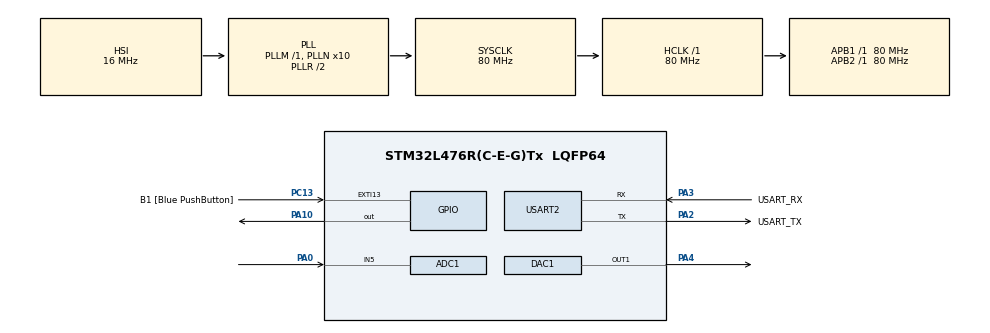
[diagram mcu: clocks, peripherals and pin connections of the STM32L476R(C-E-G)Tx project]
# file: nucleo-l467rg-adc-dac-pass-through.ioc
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ADC1.Channel-2\#ChannelRegularConversion=ADC_CHANNEL_5
ADC1.EnableInjectedConversion=DISABLE
ADC1.EnableRegularConversion=ENABLE
ADC1.NbrOfConversionFlag=1
ADC1.OffsetNumber-2\#ChannelRegularConversion=ADC_OFFSET_NONE
ADC1.Rank-2\#ChannelRegularConversion=1
ADC1.SamplingTime-2\#ChannelRegularConversion=ADC_SAMPLETIME_2CYCLES_5
ADC1.master=1
DAC1.DAC_OutputBuffer-DAC_OUT1=DAC_OUTPUTBUFFER_ENABLE
DAC1.DAC_SampleAndHold-DAC_OUT1=DAC_SAMPLEANDHOLD_DISABLE
DAC1.DAC_Trigger-DAC_OUT1=DAC_TRIGGER_NONE
Mcu.Family=STM32L4
Mcu.Name=STM32L476R(C-E-G)Tx
Mcu.Package=LQFP64
NVIC.PriorityGroup=NVIC_PRIORITYGROUP_4
PA0.Signal=ADCx_IN5
PA10.Signal=GPIO_Output
PA13\ (JTMS-SWDIO).GPIO_Label=TMS
PA13\ (JTMS-SWDIO).Mode=Serial_Wire
PA13\ (JTMS-SWDIO).Signal=SYS_JTMS-SWDIO
PA14\ (JTCK-SWCLK).GPIO_Label=TCK
PA14\ (JTCK-SWCLK).Mode=Serial_Wire
PA14\ (JTCK-SWCLK).Signal=SYS_JTCK-SWCLK
PA2.GPIO_Label=USART_TX
PA2.GPIO_Mode=GPIO_MODE_AF_PP
PA2.GPIO_PuPd=GPIO_NOPULL
PA2.GPIO_Speed=GPIO_SPEED_FREQ_VERY_HIGH
PA2.Mode=Asynchronous
PA2.Signal=USART2_TX
PA3.GPIO_Label=USART_RX
PA3.GPIO_Mode=GPIO_MODE_AF_PP
PA3.GPIO_PuPd=GPIO_NOPULL
PA3.GPIO_Speed=GPIO_SPEED_FREQ_VERY_HIGH
PA3.Mode=Asynchronous
PA3.Signal=USART2_RX
PA4.Signal=COMP_DAC11_group
PB3\ (JTDO-TRACESWO).GPIO_Label=SWO
PB3\ (JTDO-TRACESWO).Signal=SYS_JTDO-SWO
PC13.GPIO_Label=B1 [Blue PushButton]
PC13.GPIO_ModeDefaultEXTI=GPIO_MODE_IT_FALLING
PC13.GPIO_PuPd=GPIO_NOPULL
PC13.Signal=GPXTI13
PC14-OSC32_IN\ (PC14).Mode=LSE-External-Oscillator
PC14-OSC32_IN\ (PC14).Signal=RCC_OSC32_IN
PC15-OSC32_OUT\ (PC15).Mode=LSE-External-Oscillator
PC15-OSC32_OUT\ (PC15).Signal=RCC_OSC32_OUT
PH0-OSC_IN\ (PH0).Signal=RCC_OSC_IN
PH1-OSC_OUT\ (PH1).Signal=RCC_OSC_OUT
ProjectManager.HeapSize=0x200
ProjectManager.StackSize=0x400
ProjectManager.TargetToolchain=STM32CubeIDE
RCC.ADCFreq_Value=64000000
RCC.AHBFreq_Value=80000000
RCC.APB1Freq_Value=80000000
RCC.APB1TimFreq_Value=80000000
RCC.APB2Freq_Value=80000000
RCC.APB2TimFreq_Value=80000000
RCC.CortexFreq_Value=80000000
RCC.HCLKFreq_Value=80000000
RCC.HSE_VALUE=8000000
RCC.HSI_VALUE=16000000
RCC.MSI_VALUE=4000000
RCC.PLLN=10
RCC.PLLSourceVirtual=RCC_PLLSOURCE_HSI
RCC.PREFETCH_ENABLE=1
RCC.SYSCLKFreq_VALUE=80000000
RCC.SYSCLKSource=RCC_SYSCLKSOURCE_PLLCLK
RCC.USBFreq_Value=64000000
RCC.VCOOutputFreq_Value=160000000
SH.ADCx_IN5.0=ADC1_IN5,IN5-Single-Ended
SH.COMP_DAC11_group.0=DAC1_OUT1,DAC_OUT1
TIM2.AutoReloadPreload=TIM_AUTORELOAD_PRELOAD_ENABLE
TIM2.ClockDivision=TIM_CLOCKDIVISION_DIV2
TIM2.CounterMode=TIM_COUNTERMODE_DOWN
TIM2.Period=19
TIM2.Prescaler=3999
USART2.VirtualMode-Asynchronous=VM_ASYNC
VP_TIM2_VS_ClockSourceINT.Mode=Internal
board=NUCLEO-L476RG

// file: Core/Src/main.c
/* USER CODE BEGIN Header */
/**
  ******************************************************************************
  * @file           : main.c
  * @brief          : Main program body
  ******************************************************************************
  * @attention
  *
  * Copyright (c) 2024 STMicroelectronics.
  * All rights reserved.
  *
  * This software is licensed under terms that can be found in the LICENSE file
  * in the root directory of this software component.
  * If no LICENSE file comes with this software, it is provided AS-IS.
  *
  ******************************************************************************
  */
/* USER CODE END Header */
#include "main.h"

/* USER CODE BEGIN Includes */
#include <string.h>
#include <stdio.h>
#include <math.h>
/* USER CODE END Includes */

/* USER CODE BEGIN PD */
#define PI 3.14159265358979323846
/* USER CODE END PD */

ADC_HandleTypeDef hadc1;

DAC_HandleTypeDef hdac1;

TIM_HandleTypeDef htim2;

UART_HandleTypeDef huart2;

uint16_t raw;
uint16_t value;

void SystemClock_Config(void);
static void MX_GPIO_Init(void);
static void MX_USART2_UART_Init(void);
static void MX_ADC1_Init(void);
static void MX_DAC1_Init(void);
static void MX_TIM2_Init(void);

int main(void)
{

  /* USER CODE BEGIN 1 */

	double angle_rad;
	char msg[10];

	  uint32_t DAC_OUT[4] = {0, 1241, 2482, 3723};
	  uint8_t i = 0;

  /* USER CODE END 1 */

  /* MCU Configuration--------------------------------------------------------*/

  /* Reset of all peripherals, Initializes the Flash interface and the Systick. */
  HAL_Init();

  /* Configure the system clock */
  SystemClock_Config();

  /* Initialize all configured peripherals */
  MX_GPIO_Init();
  MX_USART2_UART_Init();
  MX_ADC1_Init();
  MX_DAC1_Init();
  MX_TIM2_Init();

  /* Infinite loop */
  /* USER CODE BEGIN WHILE */
  while (1)
  {

	  //Test: Set GPIO pin high
	  HAL_GPIO_WritePin(GPIOA, GPIO_PIN_10, GPIO_PIN_SET);
	  // get ADC value
	  // HAL_ADC_Start(&hadc1);
	  //ADC1->ISR = 0;  //clear the status register
	  ADC1->CR |= ADC_CR_ADEN;		//ADC enable control
	  ADC1->CR |= ADC_CR_ADSTART;  //ADC start of regular conversion

	  //HAL_ADC_PollForConversion(&hadc1, HAL_MAX_DELAY);
	  while (!((ADC1->ISR) & ADC_ISR_EOC)){;} // wait for EOC (end of conversion) flag is set
	  //raw = HAL_ADC_GetValue(&hadc1);
	  raw = ADC1->DR;		//read adc regular data register
	  //Test: Set GPIO pin low
	  HAL_GPIO_WritePin(GPIOA, GPIO_PIN_10, GPIO_PIN_RESET);

	  // Convert to string and print
//	  sprintf(msg, "%hu\r\n", raw);
//	  HAL_UART_Transmit(&huart2, (uint8_t*)msg, strlen(msg), HAL_MAX_DELAY);
	  //HAL_Delay(200);
	  // Write DAC pin
	  angle_rad += (PI/4096.0) ;
	  value = (uint16_t) (2048.0 + sin(angle_rad)*2048.0);
	  if(angle_rad >= 2*PI)
		  angle_rad = 0;

	  HAL_DAC_SetValue(&hdac1, DAC_CHANNEL_1, DAC_ALIGN_12B_R, value);
	  HAL_DAC_Start(&hdac1, DAC1_CHANNEL_1);
	  //HAL_DAC_Start(&hdac1, DAC1_CHANNEL_2);
	  //DAC1->DHR12R1 = raw;

	  // Pretend we have something else to do for a while
	  //HAL_Delay(1);
    /* USER CODE END WHILE */

  }
}

void SystemClock_Config(void)
{
  RCC_OscInitTypeDef RCC_OscInitStruct = {0};
  RCC_ClkInitTypeDef RCC_ClkInitStruct = {0};

  /** Configure the main internal regulator output voltage
  */
  if (HAL_PWREx_ControlVoltageScaling(PWR_REGULATOR_VOLTAGE_SCALE1) != HAL_OK)
  {
    Error_Handler();
  }

  /** Initializes the RCC Oscillators according to the specified parameters
  * in the RCC_OscInitTypeDef structure.
  */
  RCC_OscInitStruct.OscillatorType = RCC_OSCILLATORTYPE_HSI;
  RCC_OscInitStruct.HSIState = RCC_HSI_ON;
  RCC_OscInitStruct.HSICalibrationValue = RCC_HSICALIBRATION_DEFAULT;
  RCC_OscInitStruct.PLL.PLLState = RCC_PLL_ON;
  RCC_OscInitStruct.PLL.PLLSource = RCC_PLLSOURCE_HSI;
  RCC_OscInitStruct.PLL.PLLM = 1;
  RCC_OscInitStruct.PLL.PLLN = 10;
  RCC_OscInitStruct.PLL.PLLP = RCC_PLLP_DIV7;
  RCC_OscInitStruct.PLL.PLLQ = RCC_PLLQ_DIV2;
  RCC_OscInitStruct.PLL.PLLR = RCC_PLLR_DIV2;
  if (HAL_RCC_OscConfig(&RCC_OscInitStruct) != HAL_OK)
  {
    Error_Handler();
  }

  /** Initializes the CPU, AHB and APB buses clocks
  */
  RCC_ClkInitStruct.ClockType = RCC_CLOCKTYPE_HCLK|RCC_CLOCKTYPE_SYSCLK
                              |RCC_CLOCKTYPE_PCLK1|RCC_CLOCKTYPE_PCLK2;
  RCC_ClkInitStruct.SYSCLKSource = RCC_SYSCLKSOURCE_PLLCLK;
  RCC_ClkInitStruct.AHBCLKDivider = RCC_SYSCLK_DIV1;
  RCC_ClkInitStruct.APB1CLKDivider = RCC_HCLK_DIV1;
  RCC_ClkInitStruct.APB2CLKDivider = RCC_HCLK_DIV1;

  if (HAL_RCC_ClockConfig(&RCC_ClkInitStruct, FLASH_LATENCY_4) != HAL_OK)
  {
    Error_Handler();
  }
}

static void MX_ADC1_Init(void)
{

  ADC_MultiModeTypeDef multimode = {0};
  ADC_ChannelConfTypeDef sConfig = {0};

  /** Common config
  */
  hadc1.Instance = ADC1;
  hadc1.Init.ClockPrescaler = ADC_CLOCK_ASYNC_DIV1;
  hadc1.Init.Resolution = ADC_RESOLUTION_12B;
  hadc1.Init.DataAlign = ADC_DATAALIGN_RIGHT;
  hadc1.Init.ScanConvMode = ADC_SCAN_DISABLE;
  hadc1.Init.EOCSelection = ADC_EOC_SINGLE_CONV;
  hadc1.Init.LowPowerAutoWait = DISABLE;
  hadc1.Init.ContinuousConvMode = DISABLE;
  hadc1.Init.NbrOfConversion = 1;
  hadc1.Init.DiscontinuousConvMode = DISABLE;
  hadc1.Init.ExternalTrigConv = ADC_SOFTWARE_START;
  hadc1.Init.ExternalTrigConvEdge = ADC_EXTERNALTRIGCONVEDGE_NONE;
  hadc1.Init.DMAContinuousRequests = DISABLE;
  hadc1.Init.Overrun = ADC_OVR_DATA_PRESERVED;
  hadc1.Init.OversamplingMode = DISABLE;
  if (HAL_ADC_Init(&hadc1) != HAL_OK)
  {
    Error_Handler();
  }

  /** Configure the ADC multi-mode
  */
  multimode.Mode = ADC_MODE_INDEPENDENT;
  if (HAL_ADCEx_MultiModeConfigChannel(&hadc1, &multimode) != HAL_OK)
  {
    Error_Handler();
  }

  /** Configure Regular Channel
  */
  sConfig.Channel = ADC_CHANNEL_5;
  sConfig.Rank = ADC_REGULAR_RANK_1;
  sConfig.SamplingTime = ADC_SAMPLETIME_2CYCLES_5;
  sConfig.SingleDiff = ADC_SINGLE_ENDED;
  sConfig.OffsetNumber = ADC_OFFSET_NONE;
  sConfig.Offset = 0;
  if (HAL_ADC_ConfigChannel(&hadc1, &sConfig) != HAL_OK)
  {
    Error_Handler();
  }

}

static void MX_DAC1_Init(void)
{

  DAC_ChannelConfTypeDef sConfig = {0};

  /** DAC Initialization
  */
  hdac1.Instance = DAC1;
  if (HAL_DAC_Init(&hdac1) != HAL_OK)
  {
    Error_Handler();
  }

  /** DAC channel OUT1 config
  */
  sConfig.DAC_SampleAndHold = DAC_SAMPLEANDHOLD_DISABLE;
  sConfig.DAC_Trigger = DAC_TRIGGER_NONE;
  sConfig.DAC_OutputBuffer = DAC_OUTPUTBUFFER_ENABLE;
  sConfig.DAC_ConnectOnChipPeripheral = DAC_CHIPCONNECT_DISABLE;
  sConfig.DAC_UserTrimming = DAC_TRIMMING_FACTORY;
  if (HAL_DAC_ConfigChannel(&hdac1, &sConfig, DAC_CHANNEL_1) != HAL_OK)
  {
    Error_Handler();
  }

}

static void MX_TIM2_Init(void)
{

  TIM_ClockConfigTypeDef sClockSourceConfig = {0};
  TIM_MasterConfigTypeDef sMasterConfig = {0};

  htim2.Instance = TIM2;
  htim2.Init.Prescaler = 3999;
  htim2.Init.CounterMode = TIM_COUNTERMODE_DOWN;
  htim2.Init.Period = 19;
  htim2.Init.ClockDivision = TIM_CLOCKDIVISION_DIV2;
  htim2.Init.AutoReloadPreload = TIM_AUTORELOAD_PRELOAD_ENABLE;
  if (HAL_TIM_Base_Init(&htim2) != HAL_OK)
  {
    Error_Handler();
  }
  sClockSourceConfig.ClockSource = TIM_CLOCKSOURCE_INTERNAL;
  if (HAL_TIM_ConfigClockSource(&htim2, &sClockSourceConfig) != HAL_OK)
  {
    Error_Handler();
  }
  sMasterConfig.MasterOutputTrigger = TIM_TRGO_RESET;
  sMasterConfig.MasterSlaveMode = TIM_MASTERSLAVEMODE_DISABLE;
  if (HAL_TIMEx_MasterConfigSynchronization(&htim2, &sMasterConfig) != HAL_OK)
  {
    Error_Handler();
  }

}

static void MX_USART2_UART_Init(void)
{

  huart2.Instance = USART2;
  huart2.Init.BaudRate = 115200;
  huart2.Init.WordLength = UART_WORDLENGTH_8B;
  huart2.Init.StopBits = UART_STOPBITS_1;
  huart2.Init.Parity = UART_PARITY_NONE;
  huart2.Init.Mode = UART_MODE_TX_RX;
  huart2.Init.HwFlowCtl = UART_HWCONTROL_NONE;
  huart2.Init.OverSampling = UART_OVERSAMPLING_16;
  huart2.Init.OneBitSampling = UART_ONE_BIT_SAMPLE_DISABLE;
  huart2.AdvancedInit.AdvFeatureInit = UART_ADVFEATURE_NO_INIT;
  if (HAL_UART_Init(&huart2) != HAL_OK)
  {
    Error_Handler();
  }

}

static void MX_GPIO_Init(void)
{
  GPIO_InitTypeDef GPIO_InitStruct = {0};

  /* GPIO Ports Clock Enable */
  __HAL_RCC_GPIOC_CLK_ENABLE();
  __HAL_RCC_GPIOH_CLK_ENABLE();
  __HAL_RCC_GPIOA_CLK_ENABLE();
  __HAL_RCC_GPIOB_CLK_ENABLE();

  /*Configure GPIO pin Output Level */
  HAL_GPIO_WritePin(GPIOA, GPIO_PIN_10, GPIO_PIN_RESET);

  /*Configure GPIO pin : B1_Pin */
  GPIO_InitStruct.Pin = B1_Pin;
  GPIO_InitStruct.Mode = GPIO_MODE_IT_FALLING;
  GPIO_InitStruct.Pull = GPIO_NOPULL;
  HAL_GPIO_Init(B1_GPIO_Port, &GPIO_InitStruct);

  /*Configure GPIO pin : PA10 */
  GPIO_InitStruct.Pin = GPIO_PIN_10;
  GPIO_InitStruct.Mode = GPIO_MODE_OUTPUT_PP;
  GPIO_InitStruct.Pull = GPIO_NOPULL;
  GPIO_InitStruct.Speed = GPIO_SPEED_FREQ_LOW;
  HAL_GPIO_Init(GPIOA, &GPIO_InitStruct);

}

void Error_Handler(void)
{
  __disable_irq();
  while (1)
  {
  }
}
